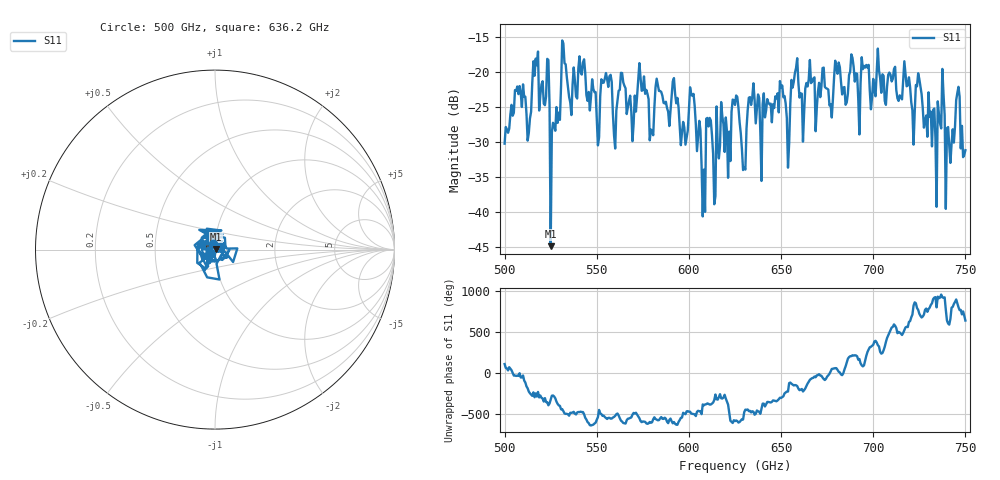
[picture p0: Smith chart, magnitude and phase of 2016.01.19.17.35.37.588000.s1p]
!Created with skrf (http://scikit-rf.org).
# GHz S RI R 50.0
!freq ReS11 ImS11
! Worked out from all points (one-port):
!   401 points, 500 GHz to 750 GHz, reference 50 ohm
!   lowest |S11| = -44.9 dB at 525 GHz (marker M1), VSWR 1.01, Z = 50.5 + j0.326 ohm
!   |S11| at or under -10 dB: start of sweep to end of sweep
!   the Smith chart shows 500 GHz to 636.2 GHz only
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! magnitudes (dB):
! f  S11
! 500 GHz  -30.2
! 506.9 GHz  -22.0
! 513.1 GHz  -28.7
! 516.9 GHz  -18.1
! 525 GHz  -44.9
! 531.2 GHz  -15.5
! 550.6 GHz  -30.5
! 562.5 GHz  -22.5
! 580 GHz  -28.5
! 593.8 GHz  -23.7
! 596.9 GHz  -27.1
! 601.9 GHz  -23.4
! 607.5 GHz  -40.6
! 610.6 GHz  -27.8
! 615 GHz  -24.9
! 625 GHz  -24.7
! 629.4 GHz  -34.0
! 633.8 GHz  -24.7
! 650.6 GHz  -21.9
! 653.8 GHz  -33.6
! 656.2 GHz  -22.2
! 687.5 GHz  -19.9
! 718.8 GHz  -21.9
! 733.1 GHz  -25.2
! 737.5 GHz  -19.5
! 740.6 GHz  -27.8
! 745.6 GHz  -23.0
! 750 GHz  -31.2
